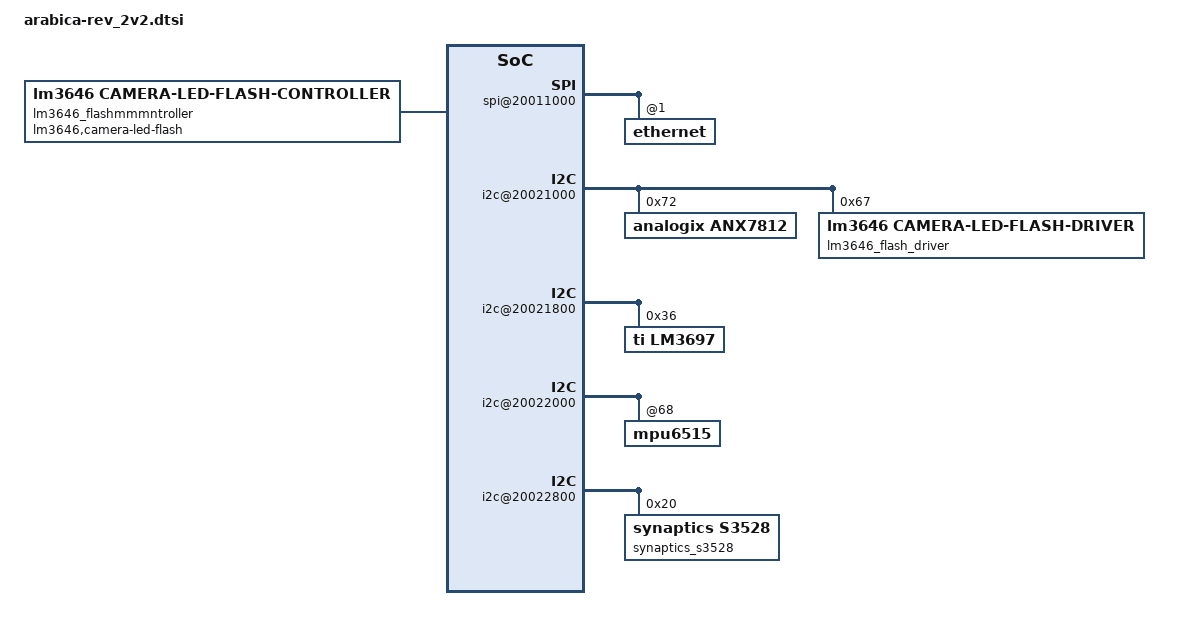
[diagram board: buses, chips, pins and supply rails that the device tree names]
/*
 * This file is for MADK v2.1
 */

/ {
	connectivity {
		wlan@0{
			power_gpio = <120>;
		};
/* sdio start */
		sdhci@0x20006000{
			sdclk = <200>;			/* 200Mhz, UHS104*/
		};
/* sdio end */
	};

	gpio-keys {
		button@1 {
			gpios = <&gpio2 1 1>;
		};
		button@2 {
			gpios = <&gpio2 2 1>;
		};
	};

	soc {

		spi@20011000{
			ethernet@1{
				irq_gpio = <5>;
			};
		};

		max77819_pmic {
			irq_gpio = <136>;
		};

		 pmic1: d2260@48 {
			regulators {
				D2260_LDO_8 {
					regulator-name = "+3.0V_TOUCH_AVCC";
					regulator-min-microvolt = <1200000>;
					regulator-max-microvolt = <3300000>;
					regulator-always-on;
					regulator-dsm-mode = <0x04>;
				};
				D2260_LDO_22 {
					regulator-name = "+1.8V_TOUCH_IOVCC";
					regulator-min-microvolt = <1200000>;
					regulator-max-microvolt = <3300000>;
					regulator-always-on;
					regulator-dsm-mode = <0x04>;
				};
				D2260_GPIOCTRL_1 {
					regulator-name = "+1.8V_VT_CAM_IO";
					regulator-enable-gpio = <173>;
				};
			};
		};

		i2c@20021000 {

/* LGE_CHANGE_S
 */
			anx7808@72{
				compatible = "analogix,anx7808";
				status = "disable";
				reg = <0x72>;
				analogix,reset-gpio = <52>; /* PERI_G0_GPIO_BASE(0)+52 */
				analogix,irq-gpio = <51>;   /* PERI_G0_GPIO_BASE(0)+51 */
				analogix,p-dwn-gpio = <53>; /* PERI_G0_GPIO_BASE(0)+53 */
				analogix,v10-ctrl-gpio = <31>;  /* PERI_G0_GPIO_BASE(0)+31 */
				analogix,cbl-det-gpio = <142>;  /* SMS_GPIO_BASE(112)+30 */
				lge,external-ldo-control = <0>;
			};
			anx7812@72{
				compatible = "analogix,anx7812";
				status = "ok";
				reg = <0x72>;
				analogix,reset-gpio = <52>; /* PERI_G0_GPIO_BASE(0)+52 */
				analogix,irq-gpio = <51>;   /* PERI_G0_GPIO_BASE(0)+51 */
				analogix,p-dwn-gpio = <53>; /* PERI_G0_GPIO_BASE(0)+53 */
				analogix,v10-ctrl-gpio = <31>;  /* PERI_G0_GPIO_BASE(0)+31 */
				analogix,cbl-det-gpio = <142>;  /* SMS_GPIO_BASE(112)+30 */
				lge,external-ldo-control = <0>;
			};

			lm3646_flash_driver: lm3646@67 {
				compatible = "lm3646,camera-led-flash-driver";
				status = "ok";
				reg = <0x67>;
				lm3646,gpio-enable = <71>; /*<&pm8941_gpios 6 0>; */
				lm3646,tx-pin-enable = <0>;
				lm3646,torch-pin-enable = <0>;
				lm3646,strobe-pin-enable =<0>;

				lm3646_flash: lm3646,flash {
					lm3646,flash-trigger = "lm3646:flash";
					lm3646,flash-max-current = <0x0A>;
					lm3646,flash-op-current = <0x3F>;
//				lm3646,flash-ramp-time = <0x0>;
					lm3646,flash-time-out = <0x07>;
				};

				lm3646_torch: lm3646,torch {
					lm3646,torch-trigger = "lm3646:torch";
					lm3646,torch-max-current = <0x07>;
					lm3646,torch-op-current = <0x3F>;
				};
			};
		};
		i2c@20021800 {
			compatible = "snps,odin-i2c";
			reg = <0 0x20021800 0 0x800>;
			interrupts = <0 16 0x4>;
			clocks = <&i2c_sclk1>;
			pclk_name = "i2c_pclk1";
			enable_rpm = <1>;
			#address-cells = <1>;
			#size-cells = <0>;

			lm3697@36 {
				compatible = "ti,lm3697";
				reg = <0x36>;

				/* GPIO for HWEN pin */
				ti,enable-gpio = <29>;

				lcd_bl {
					backlight-name = "lcd-backlight";
					hvled1-used;
					hvled2-used;
					max-current-milliamp = <20>;
					initial-brightness = <171>;
					/* mapping-mode, 0:exp, 1:linear */
					mapping-mode = <1>;
					blmap_size = <256>;
					blmap = <
							17	17	17	17	17	17	17	17	17	17	17	17	17	17	17	17
							17	17	17	17	17	17	17	17	17	17	17	17	17	17	17	17
							17	17	17	17	17	17	26	26	26	26	26	26	26	26	26	26
							35	35	35	35	35	35	35	35	35	35	35	35	35	35	35	35
							43	43	43	43	43	43	43	52	52	52	52	52	52	52	52	60
							60	60	60	60	60	60	69	69	69	69	78	78	95	95	95	104
							104	104	104	112	112	112	112	121	121	121	130	130	138	138	147	147
							164	173	173	181	190	199	207	216	216	233	233	242	242	250	250	259
							259	268	268	276	285	294	294	302	311	320	328	345	354	363	371	380
							389	397	406	415	423	423	432	440	458	466	484	501	518	527	536	544
							553	561	570	579	579	587	596	605	613	622	631	639	648	656	665	674
							674	682	691	700	717	734	751	769	777	786	795	803	812	829	829	846
							864	881	907	916	933	950	967	985	1002	1019	1036	1054	1062
							1071	1080	1088	1097	1123	1140	1157	1175	1192
							1201	1209	1226	1244	1261	1278	1296	1321	1347
							1373	1399	1416	1434	1451	1468	1486	1503	1520
							1537	1572	1598	1615	1632	1650	1667	1684	1693
							1719	1745	1762	1788	1814	1840	1866	1892	1900
							1917	1943	1969	1995	2021	2047
							>;

					pwm-period = <1>;
				};
			};
		};
		i2c@20022000 {
			mpu6515@68{
				axis_map_x = <1>;
				axis_map_y = <0>;
				axis_map_z = <2>;
				negate_x = <0>;
				negate_y = <1>;
				negate_z = <0>;
				inven,secondary_reg = <0x0D>;
			};
		};
		i2c@20022800{
			compatible = "snps,odin-i2c";
			reg = <0 0x20022800 0 0x800>;
			interrupts = <0 18 0x4>;
			clocks = <&i2c_sclk3>;

			atmel_s540@4a {
				compatible = "atmel,s540";
				status = "disabled";
			};

			synaptics_s3528@20 {
				compatible = "synaptics,s3528";
				status = "ok";
				reg = <0x20>;
				reset-gpio = <147>;
				irq-gpio = <55>;
				irq-gpio-sms = <114>;
				/*Caps*/
				button_support = <0>;
				number_of_button = <4>;
				button_name = [9e 8b 66 d9];
				max_x = <1080>;
				max_y = <1920>;
				max_pressure = <0xff>;
				max_width = <15>;
				max_orientation = <1>;
				max_id = <10>;
				/*role*/
				protocol_type = <1>;
				report_mode = <0>;
				delta_pos_threshold = <1>;
				report_period = <10000000>;
				booting_delay = <150>;
				reset_delay = <10>;
				wake_up_by_touch = <0>;
				use_sleep_mode = <1>;
				thermal_check = <1>;
				palm_ctrl_mode = <0>;
				irqflags = <0x00000002>;
				bouncing.enable = <0>;
				grip.enable = <0>;
				grip.edge_region = <5>;
				grip.max_delta = <10>;
				grip.width_ratio = <2>;
				accuracy.enable = <0>;
				accuracy.min_delta = <3>;
				accuracy.curr_ratio = <5>;
				accuracy.min_pressure = <50>;
				jitter.enable = <0>;
				jitter.curr_ratio = <115>;
				quickcover.enable = <1>;
				quickcover.X1 = <148>;
				quickcover.X2 = <1292>;
				quickcover.Y1 = <0>;
				quickcover.Y2 = <1101>;
				crack.enable = <1>;
				crack.min.cap = <300>;
				/*ghost_detection -S*/
				ghost_detection_enable = <1>;
				ghost_detection_chk_cnt = <3>;
				jitter_value = <10>;
				ta_noise_chk = <0>;
				incoming_call_chk = <0>;
				first_finger_chk = <1>;
				first_finger_time = <200>;
				pressure_zero_chk = <1>;
				ta_debouncing_chk = <0>;
				ta_debouncing_cnt =<2>;
				ta_debouncing_finger_num = <2>;
				press_interval_chk = <1>;
				press_interval = <29>;
				diff_fingers_chk = <1>;
				diff_finger_num = <5>;
				subtraction_finger_chk = <1>;
				subtraction_time = <11>;
				subtraction_finger_cnt = <5>;
				long_press_chk = <1>;
				long_press_chk_time = <10>;
				long_press_cnt = <700>;
				button_chk = <0>;
				button_int_num = <6>;
				button_duration = <100>;
				rebase_repetition_chk = <1>;
				rebase_since_init = <3>;
				rebase_since_rebase = <5>;
				use_lpwg_all = <0>;
				/*ghost_detection -E*/
				/*pwr*/
				use_regulator = <1>;
				vdd = "+3.0V_TOUCH_AVCC";
				vdd_voltage = <3300000>;
				vio = "+1.8V_TOUCH_IOVCC";
				vio_voltage = <1800000>;
				/*firmware*/
				need_upgrade = <1>;
				/* Rx & Tx cap*/
				tx_cap = <5 10 2 9 7 5 1 2 2 1 10 2 3 83 7 2 8 0 10 0 5 8 4 8 6 40 88>;
				rx_cap = <53 12 15 26 28 13 27 25 4 15 5 6 22 9 44>;
				/* 1:sd. 2:ref_rebase. 3:TX. 4:RX.*/
				ref_chk_option = <0 0 1 1>;
			};

		};

		lm3646_flashmmmntroller: lm3646,camera-led-flash {
			status = "ok";
			cell-index = <0>;
			compatible = "lm3646,camera-led-flash-controller";
			lm3646,flash-type = <1>;
			lm3646,flash-source = <&lm3646_flash>;
			lm3646,torch-source = <&lm3646_torch>;
		};

		max77819_pmic {
			compatible = "maxim,max77819-pmic";
			status = "disable";

			charger {
				compatible = "maxim,max77819-charger";
				status = "disable";
			};
		};
		max77819_peri {
			compatible = "maxim,max77819-periph";
			status = "disable";

			backlight {
				compatible = "maxim,max77819-wled";
				status = "disable";
			};
		};
	};

	sdhci@0x2000A000{
		sdc_cd_gpio = <146>;
	};

};
